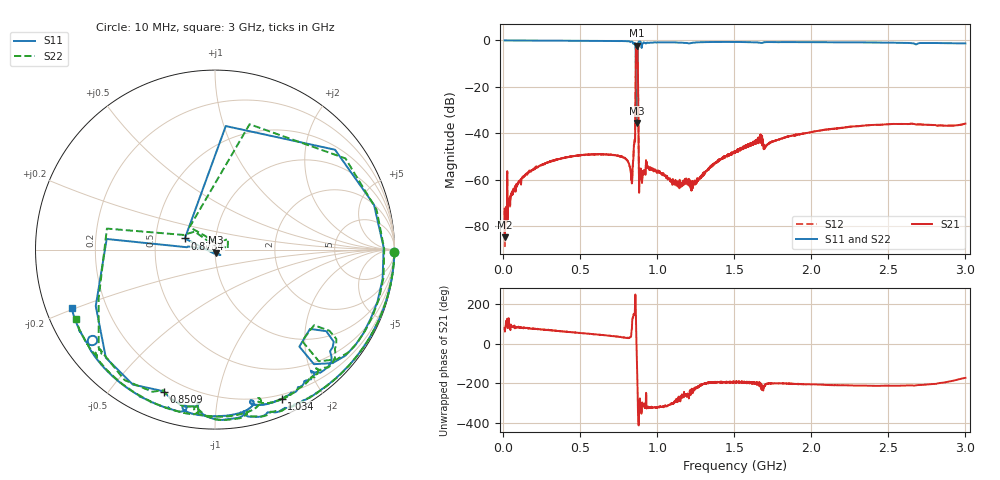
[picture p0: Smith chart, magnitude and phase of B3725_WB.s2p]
! Matrix data file written by TouchstoneData, EPCOS AG
! FILENAME: "LT97B_WB.s2p"
! INFO: nport=2, nfreq=1601
! port | pin | signal
!  1  |  2  |  IN
!  2  |  5  |  OUT
# MHZ S RI R 50
! freq  reS11 imS11  reS21 imS21  reS12 imS12  reS22 imS22
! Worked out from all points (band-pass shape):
!   1601 points, 10 MHz to 3 GHz, reference 50 ohm
!   highest |S21| = -2.18 dB at 865.9 MHz (marker M1); lowest = -84.8 dB at 11.87 MHz (marker M2)
!   |S21| within 3 dB of the highest: 862 MHz to 873.5 MHz (11.48 MHz wide, 1.32 % of centre)
!   lowest |S11| = -35.6 dB at 867.8 MHz (marker M3), VSWR 1.03, Z = 50.3 - j1.65 ohm
!   |S11| at or under -10 dB: 861.2 MHz to 874.1 MHz (12.97 MHz wide, 1.5 % of centre)
!   |S22| runs from -34.7 to 0.0 dB; largest |S21 - S12| = 0.00081
!   S11 on the Smith chart (normalised r, x): 10 MHz: open; 850.9 MHz: 0.13, -0.69; 873.4 MHz: 0.71, +0.09; 1.034 GHz: 0.16, -1.53; 3 GHz: 0.08, -0.20
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10  0.9997 -0.0142  5.03e-05 0.000233  4.32e-05 0.000212  0.9997 -0.0137
11.86875  0.9996 -0.0165  2.86e-05 5e-05  6.11e-06 3.65e-05  0.9997 -0.0162
161.3688  0.9716 -0.2176  0.000364 0.00139  0.000388 0.0014  0.9723 -0.2144
508.9563  0.7617 -0.628  0.00207 0.00267  0.00207 0.00262  0.7687 -0.6201
759.3687  0.4392 -0.8663  0.00265 0.00178  0.00263 0.00176  0.4576 -0.8591
828.5125  0.1477 -0.9306  0.00131 0.000841  0.00128 0.000833  0.1586 -0.933
841.5938  -0.0923 -0.8998  -0.00128 0.00151  -0.00126 0.0015  -0.0948 -0.8887
850.9375  -0.2865 -0.7912  -0.00466 0.00353  -0.00463 0.00355  -0.2898 -0.7841
860.2812  -0.6035 0.0591  -0.1741 -0.1241  -0.1738 -0.1243  -0.6022 0.117
865.8875  -0.0414 5.65e-05  0.778 0.00748  0.7777 0.00819  0.00219 0.0184
867.7563  0.00313 -0.0164  0.464 -0.6204  0.4643 -0.62  -0.00251 0.0281
873.3625  -0.168 0.0619  -0.22 0.5469  -0.2203 0.5466  -0.1415 0.1253
895.7875  0.5513 -0.6384  0.0012 0.000961  0.00118 0.00093  0.5785 -0.6217
942.5063  0.5063 -0.7287  0.00145 0.00101  0.00147 0.00101  0.5366 -0.7146
1007.913  0.4078 -0.8122  0.0011 0.000927  0.00114 0.000944  0.437 -0.798
1034.075  0.3723 -0.8312  0.000922 0.000851  0.000922 0.000872  0.4031 -0.8157
1232.162  0.2069 -0.8686  -0.000436 0.000493  -0.000445 0.000514  0.2518 -0.8577
1505  -0.0521 -0.9263  -0.00364 0.000888  -0.00364 0.000888  0.0107 -0.9309
1665.713  -0.1813 -0.874  -0.0055 0.00396  -0.00549 0.00399  -0.1158 -0.8849
2003.956  -0.4046 -0.8241  -0.00964 0.00451  -0.00964 0.00453  -0.3394 -0.8551
2502.912  -0.6556 -0.6139  -0.0134 0.00831  -0.0134 0.00827  -0.6011 -0.6724
3000  -0.7986 -0.3265  -0.016 -0.00213  -0.016 -0.00205  -0.7762 -0.3888
